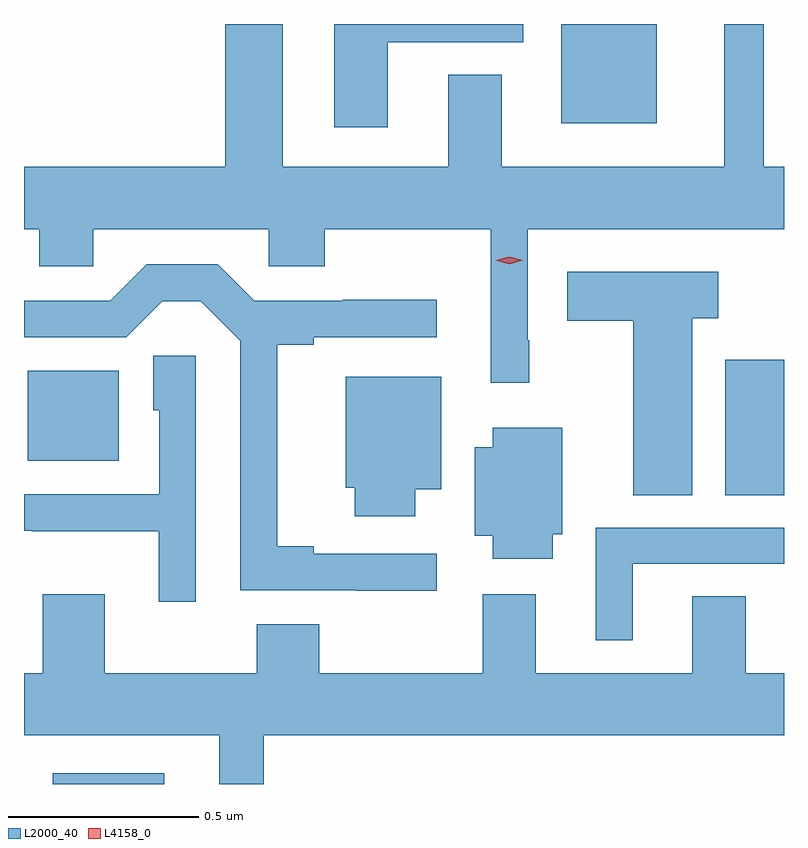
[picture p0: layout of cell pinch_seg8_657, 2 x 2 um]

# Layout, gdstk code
import gdstk
lib = gdstk.Library(unit=1e-6, precision=1e-09)
def R(c, l, rs):  # rectangles x0, y0, x1, y1
    for r in rs: c.add(gdstk.rectangle(r[:2], r[2:], *l))
def P(c, l, *ps):  # polygons
    for p in ps: c.add(gdstk.Polygon(p, *l))
L2000_40 = (2000, 40)
L4158_0 = (4158, 0)

pinch_seg8_657 = lib.new_cell('pinch_seg8_657')
R(pinch_seg8_657, L2000_40, [(246.386,1099.056,246.679,1099.084), (248.156,1099.816,248.31,1100.173), (246.32,1099.907,246.559,1100.143), (247.724,1100.795,247.975,1101.056)])
P(pinch_seg8_657, L2000_40, [(247.64,1100.224),(247.635,1100.224),(247.635,1100.516),(248.31,1100.516),(248.31,1100.68),(248.257,1100.68),(248.257,1101.056),(248.153,1101.056),(248.153,1100.68),(247.567,1100.68),(247.567,1100.923),(247.427,1100.923),(247.427,1100.68),(246.991,1100.68),(246.991,1101.056),(246.839,1101.056),(246.839,1100.68),(246.31,1100.68),(246.31,1100.516),(246.35,1100.516),(246.35,1100.418),(246.492,1100.418),(246.492,1100.516),(246.954,1100.516),(246.954,1100.418),(247.101,1100.418),(247.101,1100.516),(247.538,1100.516),(247.538,1100.112),(247.64,1100.112)],
  [(247.267,1101.008),(247.624,1101.008),(247.624,1101.056),(247.127,1101.056),(247.127,1100.784),(247.267,1100.784)],
  [(247.396,1099.662),(247.072,1099.662),(247.072,1099.682),(246.977,1099.682),(246.977,1100.212),(247.072,1100.212),(247.072,1100.232),(247.396,1100.232),(247.396,1100.33),(247.149,1100.33),(247.149,1100.328),(246.916,1100.328),(246.82,1100.424),(246.633,1100.424),(246.537,1100.328),(246.31,1100.328),(246.31,1100.232),(246.579,1100.232),(246.674,1100.327),(246.775,1100.327),(246.879,1100.223),(246.879,1099.566),(247.183,1099.566),(247.183,1099.565),(247.396,1099.565)],
  [(248.068,1100.282),(248.137,1100.282),(248.137,1100.404),(247.74,1100.404),(247.74,1100.275),(247.913,1100.275),(247.913,1099.816),(248.068,1099.816)],
  [(246.762,1100.183),(246.65,1100.183),(246.65,1100.04),(246.666,1100.04),(246.666,1099.818),(246.31,1099.818),(246.31,1099.722),(246.331,1099.722),(246.331,1099.721),(246.665,1099.721),(246.665,1099.536),(246.762,1099.536)],
  [(247.339,1099.832),(247.408,1099.832),(247.408,1100.128),(247.157,1100.128),(247.157,1099.836),(247.181,1099.836),(247.181,1099.76),(247.339,1099.76)],
  [(247.702,1099.713),(247.726,1099.713),(247.726,1099.993),(247.544,1099.993),(247.544,1099.942),(247.496,1099.942),(247.496,1099.709),(247.544,1099.709),(247.544,1099.649),(247.702,1099.649)],
  [(247.912,1099.635),(248.31,1099.635),(248.31,1099.731),(247.814,1099.731),(247.814,1099.434),(247.912,1099.434)],
  [(248.31,1099.348),(248.209,1099.348),(248.209,1099.55),(248.069,1099.55),(248.069,1099.348),(247.657,1099.348),(247.657,1099.555),(247.517,1099.555),(247.517,1099.348),(247.087,1099.348),(247.087,1099.477),(246.923,1099.477),(246.923,1099.348),(246.523,1099.348),(246.523,1099.555),(246.359,1099.555),(246.359,1099.348),(246.31,1099.348),(246.31,1099.184),(246.824,1099.184),(246.824,1099.056),(246.941,1099.056),(246.941,1099.184),(248.31,1099.184)])
P(pinch_seg8_657, L4158_0, [(247.587,1100.424),(247.551,1100.434),(247.551,1100.434),(247.551,1100.434),(247.587,1100.444),(247.623,1100.434),(247.623,1100.434),(247.623,1100.434)])

lib.write_gds('pinch_seg8_657.gds')
